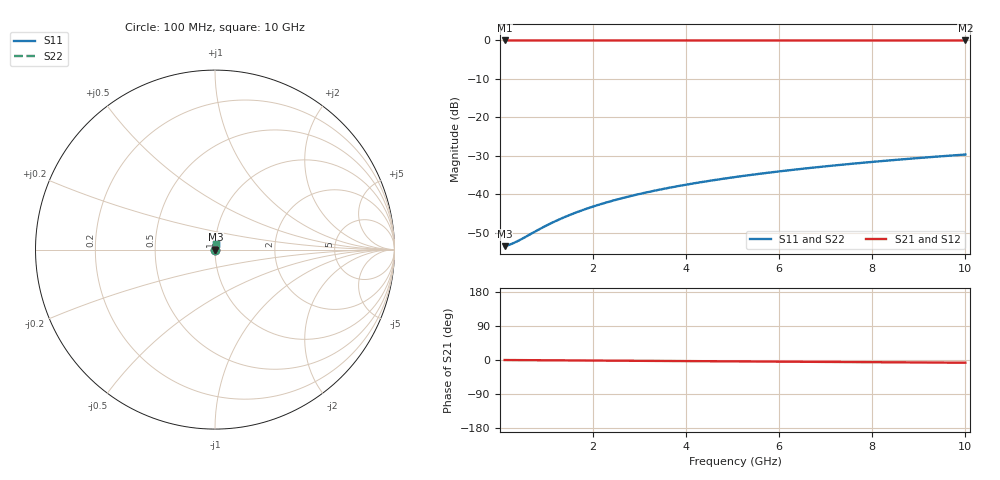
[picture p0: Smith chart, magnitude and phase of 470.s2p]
# Hz S RI R 50.00
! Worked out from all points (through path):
!   100 points, 100 MHz to 10 GHz, reference 50 ohm
!   highest |S21| = -0.02 dB at 100 MHz (marker M1); lowest = 0.0 dB at 10 GHz (marker M2)
!   group delay of S21, straight-line fit = 2 ps
!   lowest |S11| = -53.5 dB at 100 MHz (marker M3), VSWR 1.00, Z = 50.2 + j0.0328 ohm
!   |S11| at or under -10 dB: start of sweep to end of sweep
!   |S22| runs from -53.5 to -29.7 dB; largest |S21 - S12| = 0
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1e8  0.0021 0.000327  0.9979 -0.00125  0.9979 -0.00125  0.0021 0.000327
2e8  0.00211 0.000654  0.9979 -0.00251  0.9979 -0.00251  0.00211 0.000654
3e8  0.00213 0.00098  0.9979 -0.00376  0.9979 -0.00376  0.00213 0.00098
4e8  0.00214 0.00131  0.9979 -0.00502  0.9979 -0.00502  0.00214 0.00131
9e8  0.00219 0.00294  0.9978 -0.0113  0.9978 -0.0113  0.00219 0.00294
1.2e9  0.00223 0.00392  0.9977 -0.0151  0.9977 -0.0151  0.00223 0.00392
1.5e9  0.00227 0.0049  0.9976 -0.0188  0.9976 -0.0188  0.00227 0.0049
1.8e9  0.00232 0.00588  0.9975 -0.0226  0.9975 -0.0226  0.00232 0.00588
2.1e9  0.00238 0.00686  0.9974 -0.0263  0.9974 -0.0263  0.00238 0.00686
2.5e9  0.00246 0.00816  0.9972 -0.0314  0.9972 -0.0314  0.00246 0.00816
2.9e9  0.00256 0.00946  0.9971 -0.0364  0.9971 -0.0364  0.00256 0.00946
3.4e9  0.0027 0.0111  0.9968 -0.0426  0.9968 -0.0426  0.0027 0.0111
3.8e9  0.00283 0.0124  0.9965 -0.0476  0.9965 -0.0476  0.00283 0.0124
4.2e9  0.00296 0.0137  0.9962 -0.0527  0.9962 -0.0527  0.00296 0.0137
4.6e9  0.00312 0.015  0.9959 -0.0577  0.9959 -0.0577  0.00312 0.015
5.1e9  0.00332 0.0166  0.9955 -0.0639  0.9955 -0.0639  0.00332 0.0166
5.9e9  0.0037 0.0192  0.9947 -0.0739  0.9947 -0.0739  0.0037 0.0192
6.7e9  0.00412 0.0218  0.9939 -0.0839  0.9939 -0.0839  0.00412 0.0218
7.5e9  0.0046 0.0243  0.9929 -0.0939  0.9929 -0.0939  0.0046 0.0243
8.4e9  0.0052 0.0272  0.9917 -0.1052  0.9917 -0.1052  0.0052 0.0272
9.2e9  0.00579 0.0298  0.9905 -0.1151  0.9905 -0.1151  0.00579 0.0298
1e10  0.00643 0.0323  0.9892 -0.1251  0.9892 -0.1251  0.00643 0.0323
